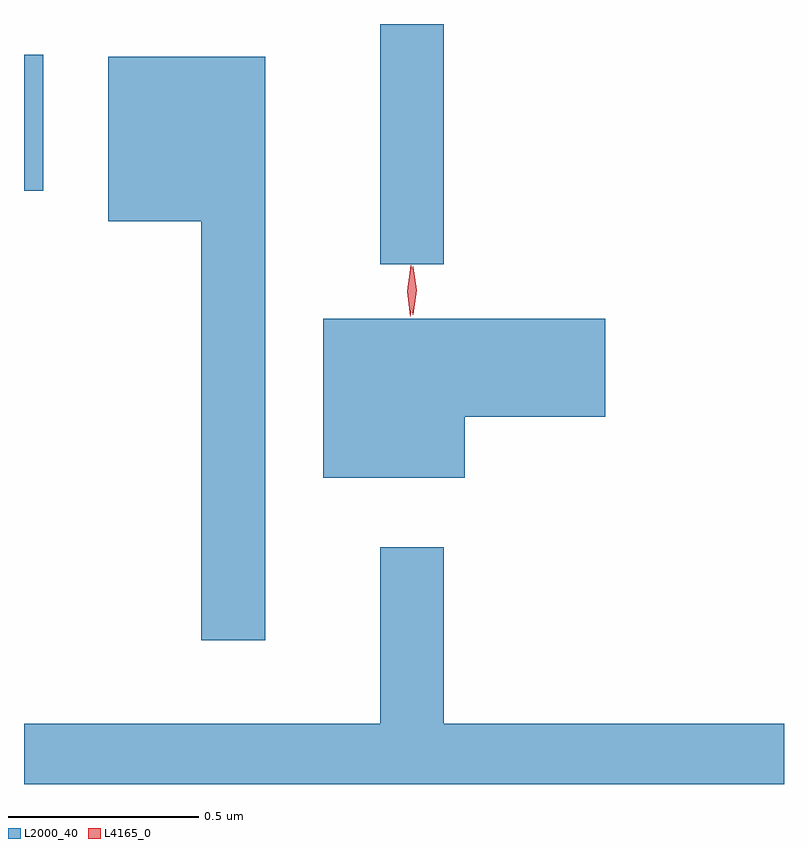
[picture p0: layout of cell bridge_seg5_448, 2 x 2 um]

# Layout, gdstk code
import gdstk
lib = gdstk.Library(unit=1e-6, precision=1e-09)
def R(c, l, rs):  # rectangles x0, y0, x1, y1
    for r in rs: c.add(gdstk.rectangle(r[:2], r[2:], *l))
def P(c, l, *ps):  # polygons
    for p in ps: c.add(gdstk.Polygon(p, *l))
L2000_40 = (2000, 40)
L4165_0 = (4165, 0)

bridge_seg5_448 = lib.new_cell('bridge_seg5_448')
R(bridge_seg5_448, L2000_40, [(261.891,1518.213,262.059,1518.845), (260.954,1518.406,261.004,1518.764)])
P(bridge_seg5_448, L2000_40, [(261.589,1518.759),(261.176,1518.759),(261.176,1518.326),(261.421,1518.326),(261.421,1517.223),(261.589,1517.223)],
  [(262.114,1517.811),(262.484,1517.811),(262.484,1518.069),(261.741,1518.069),(261.741,1517.651),(262.114,1517.651)],
  [(262.954,1517.004),(262.059,1517.004),(262.059,1517.468),(261.891,1517.468),(261.891,1517.004),(260.954,1517.004),(260.954,1516.845),(262.954,1516.845)])
P(bridge_seg5_448, L4165_0, [(261.977,1518.08),(261.968,1518.144),(261.977,1518.206),(261.978,1518.207),(261.978,1518.206),(261.988,1518.144),(261.978,1518.08),(261.978,1518.08)],
  [(261.97,1518.074),(261.962,1518.142),(261.972,1518.21),(261.972,1518.21),(261.973,1518.21),(261.982,1518.142),(261.971,1518.074),(261.971,1518.074)])

lib.write_gds('bridge_seg5_448.gds')
